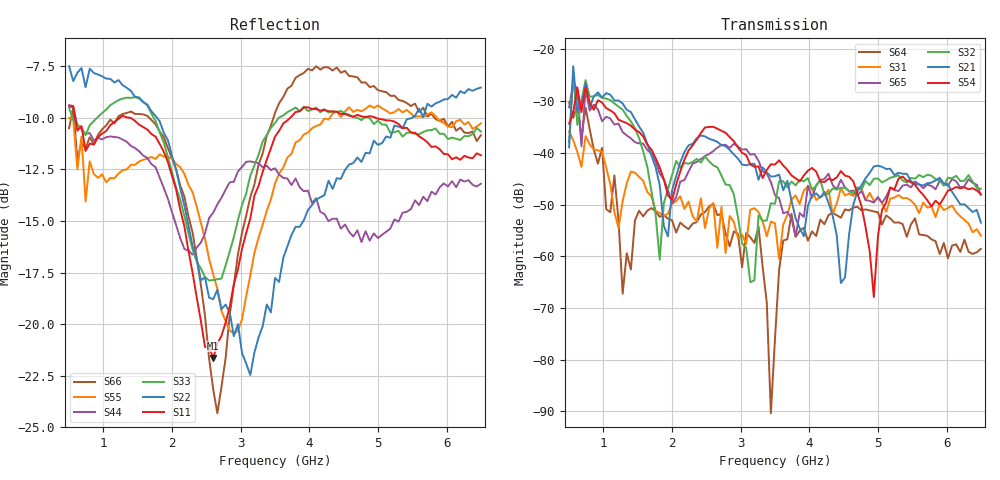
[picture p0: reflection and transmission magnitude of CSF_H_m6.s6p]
!Keysight Technologies,M9804A,MY58100912,A.14.10.03
!Date: Thursday, April 27, 2023 10:28:33
!Correction: S11(C  6-Port  )
!S12(C  6-Port  )
!S13(C  6-Port  )
!S14(C  6-Port  )
!S15(C  6-Port  )
!S16(C  6-Port  )
!S21(C  6-Port  )
!S22(C  6-Port  )
!S23(C  6-Port  )
!S24(C  6-Port  )
!S25(C  6-Port  )
!S26(C  6-Port  )
!S31(C  6-Port  )
!S32(C  6-Port  )
!S33(C  6-Port  )
!S34(C  6-Port  )
!S35(C  6-Port  )
!S36(C  6-Port  )
!S41(C  6-Port  )
!S42(C  6-Port  )
!S43(C  6-Port  )
!S44(C  6-Port  )
!S45(C  6-Port  )
!S46(C  6-Port  )
!S51(C  6-Port  )
!S52(C  6-Port  )
!S53(C  6-Port  )
!S54(C  6-Port  )
!S55(C  6-Port  )
!S56(C  6-Port  )
!S61(C  6-Port  )
!S62(C  6-Port  )
!S63(C  6-Port  )
!S64(C  6-Port  )
!S65(C  6-Port  )
!S66(C  6-Port  )
!S6P File: Measurement: :
# Hz S  RI  R 50
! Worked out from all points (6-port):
!   101 points, 500 MHz to 6.5 GHz, reference 50 ohm
!   strongest paths, dB at 500 MHz, 2 GHz, 3.5 GHz, 5 GHz, 6.5 GHz:
!     S54: -34.4, -49.1, -42.3, -56.1, -48.0
!     S21: -39.0, -47.3, -44.5, -42.5, -53.5
!     S32: -38.0, -44.3, -49.9, -45.0, -47.0
!     S65: -31.2, -49.8, -48.2, -48.5, -48.1
!     S31: -35.8, -49.9, -53.6, -48.8, -56.0
!     S64: -30.2, -53.1, -75.9, -51.5, -58.6
!   lowest |S11| = -21.6 dB at 2.6 GHz (marker M1), VSWR 1.18, Z = 42.6 + j2.03 ohm
!   |S11| at or under -10 dB: 589 MHz to 1.237 GHz (648 MHz wide, 71 % of centre); 1.401 GHz to 3.718 GHz (2.317 GHz wide, 90.5 % of centre); 4.974 GHz to end of sweep
